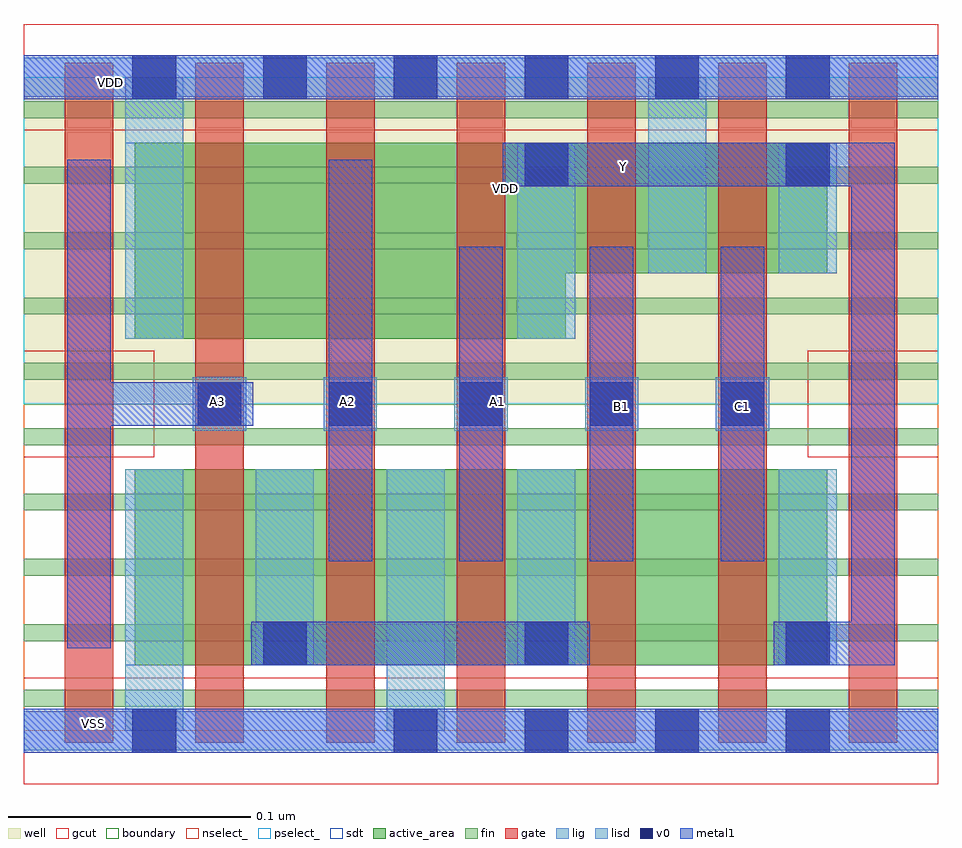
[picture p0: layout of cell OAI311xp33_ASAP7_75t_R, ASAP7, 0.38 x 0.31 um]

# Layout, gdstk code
import gdstk
lib = gdstk.Library(unit=1e-6, precision=1e-09)
def R(c, l, rs):  # rectangles x0, y0, x1, y1
    for r in rs: c.add(gdstk.rectangle(r[:2], r[2:], *l))
def A(c, l, x, y, w, h, nx, ny, dx, dy):  # array of equal rectangles
    R(c, l, [(x+i*dx, y+j*dy, x+i*dx+w, y+j*dy+h) for i in range(nx) for j in range(ny)])
def P(c, l, *ps):  # polygons
    for p in ps: c.add(gdstk.Polygon(p, *l))
well = (1, 0)
fin = (2, 0)
gate = (7, 0)
gcut = (10, 0)
active_area = (11, 0)
nselect_ = (12, 0)
pselect_ = (13, 0)
lig = (16, 0)
lisd = (17, 0)
v0 = (18, 0)
metal1 = (19, 0)
sdt = (88, 0)
boundary = (100, 0)

oai311xp33_asap7_75t_r = lib.new_cell('OAI311xp33_ASAP7_75t_R')
R(oai311xp33_asap7_75t_r, well, [(0,0.135,0.378,0.27)])
A(oai311xp33_asap7_75t_r, fin, 0, 0.01, 0.378, 0.007, 1, 10, 0, 0.027)
A(oai311xp33_asap7_75t_r, gate, 0.017, -0.005, 0.02, 0.281, 7, 1, 0.054, 0)
R(oai311xp33_asap7_75t_r, gcut, [(0,-0.022,0.378,0.022), (0,0.113,0.054,0.157), (0.324,0.113,0.378,0.157), (0,0.248,0.378,0.292)])
R(oai311xp33_asap7_75t_r, active_area, [(0.046,0.027,0.332,0.108)])
P(oai311xp33_asap7_75t_r, active_area, [(0.046,0.162),(0.046,0.243),(0.332,0.243),(0.332,0.189),(0.224,0.189),(0.224,0.162)])
R(oai311xp33_asap7_75t_r, nselect_, [(0,0,0.378,0.135)])
R(oai311xp33_asap7_75t_r, pselect_, [(0,0.135,0.378,0.27)])
A(oai311xp33_asap7_75t_r, lig, 0.07, 0.124, 0.022, 0.022, 5, 1, 0.054, 0)
R(oai311xp33_asap7_75t_r, lig, [(0,-0.008,0.378,0.008), (0,0.262,0.378,0.278)])
A(oai311xp33_asap7_75t_r, lisd, 0.096, 0.027, 0.024, 0.081, 3, 1, 0.108, 0)
R(oai311xp33_asap7_75t_r, lisd, [(0.042,0,0.066,0.108), (0.15,0,0.174,0.108), (0.042,0.162,0.066,0.27), (0.204,0.162,0.228,0.243), (0.258,0.189,0.282,0.27), (0.312,0.189,0.336,0.243)])
A(oai311xp33_asap7_75t_r, v0, 0.153, -0.009, 0.018, 0.018, 4, 1, 0.054, 0)
A(oai311xp33_asap7_75t_r, v0, 0.099, 0.027, 0.018, 0.018, 3, 1, 0.108, 0)
A(oai311xp33_asap7_75t_r, v0, 0.072, 0.126, 0.018, 0.018, 5, 1, 0.054, 0)
A(oai311xp33_asap7_75t_r, v0, 0.045, 0.261, 0.018, 0.018, 6, 1, 0.054, 0)
R(oai311xp33_asap7_75t_r, v0, [(0.045,-0.009,0.063,0.009), (0.207,0.225,0.225,0.243), (0.315,0.225,0.333,0.243)])
A(oai311xp33_asap7_75t_r, metal1, 0.18, 0.07, 0.018, 0.13, 3, 1, 0.054, 0)
R(oai311xp33_asap7_75t_r, metal1, [(0,-0.009,0.378,0.009), (0.094,0.027,0.234,0.045), (0.126,0.07,0.144,0.236), (0,0.261,0.378,0.279)])
P(oai311xp33_asap7_75t_r, metal1, [(0.018,0.034),(0.018,0.236),(0.036,0.236),(0.036,0.144),(0.095,0.144),(0.095,0.126),(0.036,0.126),(0.036,0.034)],
  [(0.31,0.027),(0.31,0.045),(0.342,0.045),(0.342,0.225),(0.198,0.225),(0.198,0.243),(0.36,0.243),(0.36,0.027)])
A(oai311xp33_asap7_75t_r, sdt, 0.042, 0.027, 0.024, 0.081, 4, 1, 0.054, 0)
R(oai311xp33_asap7_75t_r, sdt, [(0.312,0.027,0.336,0.108), (0.042,0.162,0.066,0.243), (0.204,0.162,0.228,0.243), (0.258,0.189,0.282,0.243), (0.312,0.189,0.336,0.243)])
R(oai311xp33_asap7_75t_r, boundary, [(0,0,0.378,0.27)])
oai311xp33_asap7_75t_r.add(gdstk.Label('B1', (0.247,0.134), layer=19, texttype=251))
oai311xp33_asap7_75t_r.add(gdstk.Label('A3', (0.08,0.136), layer=19, texttype=251))
oai311xp33_asap7_75t_r.add(gdstk.Label('VDD', (0.036,0.268), layer=19, texttype=251))
oai311xp33_asap7_75t_r.add(gdstk.Label('VSS', (0.029,0.003), layer=19, texttype=251))
oai311xp33_asap7_75t_r.add(gdstk.Label('C1', (0.297,0.134), layer=19, texttype=251))
oai311xp33_asap7_75t_r.add(gdstk.Label('A2', (0.134,0.136), layer=19, texttype=251))
oai311xp33_asap7_75t_r.add(gdstk.Label('A1', (0.196,0.136), layer=19, texttype=251))
oai311xp33_asap7_75t_r.add(gdstk.Label('Y', (0.248,0.233), layer=19, texttype=251))
oai311xp33_asap7_75t_r.add(gdstk.Label('VDD', (0.199,0.224), layer=1, texttype=251))
oai311xp33_asap7_75t_r.add(gdstk.Label('VSS', (0.111,-0.039), layer=3, texttype=251))

lib.write_gds('OAI311xp33_ASAP7_75t_R.gds')
